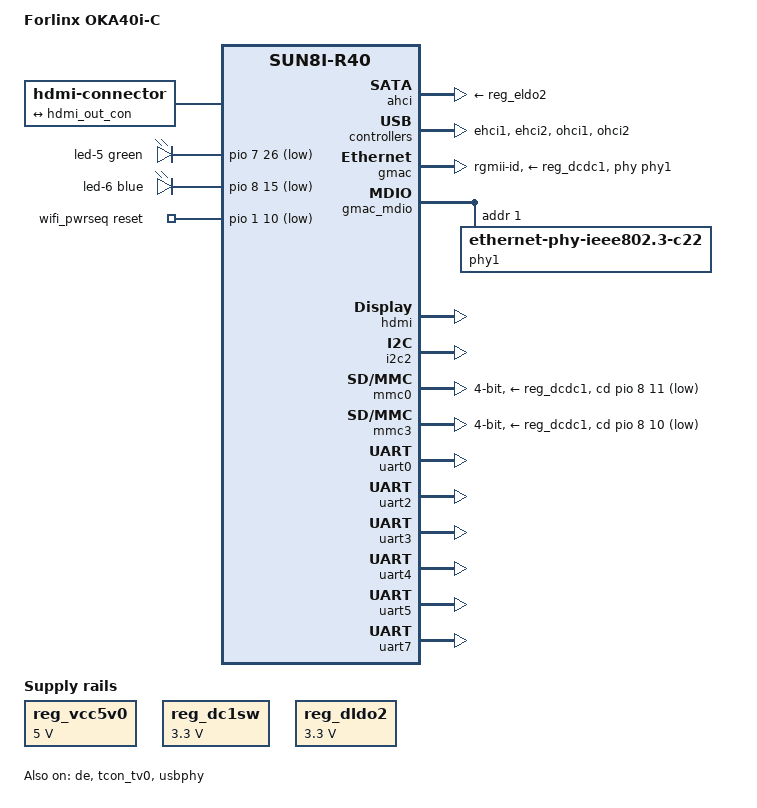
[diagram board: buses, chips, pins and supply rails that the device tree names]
// SPDX-License-Identifier: GPL-2.0+ OR MIT
// Copyright (C) 2021 Ivan Uvarov <i.uvarov@cognitivepilot.com>
// Based on the sun8i-r40-bananapi-m2-ultra.dts, which is:
//	Copyright (C) 2017 Chen-Yu Tsai <wens@csie.org>
//	Copyright (C) 2017 Icenowy Zheng <icenowy@aosc.io>

/dts-v1/;
#include "sun8i-r40-feta40i.dtsi"

#include <dt-bindings/gpio/gpio.h>
#include <dt-bindings/leds/common.h>

/ {
	model = "Forlinx OKA40i-C";
	compatible = "forlinx,oka40i-c", "forlinx,feta40i-c", "allwinner,sun8i-r40";

	aliases {
		ethernet0 = &gmac;
		serial0 = &uart0;
		serial2 = &uart2;
		serial3 = &uart3;
		serial4 = &uart4;
		serial5 = &uart5; /* RS485 */
		serial7 = &uart7;
	};

	chosen {
		stdout-path = "serial0:115200n8";
	};

	connector {
		compatible = "hdmi-connector";
		type = "a";

		port {
			hdmi_con_in: endpoint {
				remote-endpoint = <&hdmi_out_con>;
			};
		};
	};

	leds {
		compatible = "gpio-leds";

		led-5 { /* this is how the leds are labeled on the board */
			gpios = <&pio 7 26 GPIO_ACTIVE_LOW>; /* PH26 */
			color = <LED_COLOR_ID_GREEN>;
			function = LED_FUNCTION_STATUS;
		};

		led-6 {
			gpios = <&pio 8 15 GPIO_ACTIVE_LOW>; /* PI15 */
			color = <LED_COLOR_ID_BLUE>;
			function = LED_FUNCTION_STATUS;
		};
	};

	reg_vcc5v0: vcc5v0 {
		compatible = "regulator-fixed";
		regulator-name = "vcc5v0";
		regulator-min-microvolt = <5000000>;
		regulator-max-microvolt = <5000000>;
	};

	wifi_pwrseq: pwrseq {
		compatible = "mmc-pwrseq-simple";
		reset-gpios = <&pio 1 10 GPIO_ACTIVE_LOW>; // PB10 WIFI_EN
		clocks = <&ccu CLK_OUTA>;
		clock-names = "ext_clock";
	};
};

&ahci {
	ahci-supply = <&reg_dldo4>;
	phy-supply = <&reg_eldo2>;
	status = "okay";
};

&de {
	status = "okay";
};

&ehci1 {
	status = "okay";
};

&ehci2 {
	status = "okay";
};

&gmac {
	pinctrl-names = "default";
	pinctrl-0 = <&gmac_rgmii_pins>;
	phy-handle = <&phy1>;
	phy-mode = "rgmii-id";
	phy-supply = <&reg_dcdc1>;
	status = "okay";
};

&gmac_mdio {
	phy1: ethernet-phy@1 {
		compatible = "ethernet-phy-ieee802.3-c22";
		reg = <1>;
	};
};

&hdmi {
	status = "okay";
};

&hdmi_out {
	hdmi_out_con: endpoint {
		remote-endpoint = <&hdmi_con_in>;
	};
};

&i2c2 {
	status = "okay";
};

&mmc0 {
	vmmc-supply = <&reg_dcdc1>;
	vqmmc-supply = <&reg_dcdc1>;
	bus-width = <4>;
	cd-gpios = <&pio 8 11 GPIO_ACTIVE_LOW>; // PI11
	status = "okay";
};

&mmc3 {
	vmmc-supply = <&reg_dcdc1>;
	vqmmc-supply = <&reg_dcdc1>;
	bus-width = <4>;
	cd-gpios = <&pio 8 10 GPIO_ACTIVE_LOW>; // PI10
	status = "okay";
};

&ohci1 {
	status = "okay";
};

&ohci2 {
	status = "okay";
};

&reg_dc1sw {
	regulator-min-microvolt = <3300000>;
	regulator-max-microvolt = <3300000>;
	regulator-name = "vcc-lcd";
};

&reg_dldo2 {
	regulator-min-microvolt = <3300000>;
	regulator-max-microvolt = <3300000>;
	regulator-name = "vcc-wifi";
};

&tcon_tv0 {
	status = "okay";
};

&uart0 {
	pinctrl-names = "default";
	pinctrl-0 = <&uart0_pb_pins>;
	status = "okay";
};

&uart2 {
	pinctrl-names = "default";
	pinctrl-0 = <&uart2_pi_pins>, <&uart2_rts_cts_pi_pins>;
	uart-has-rtscts;
	status = "okay";
};

&uart3 {
	pinctrl-names = "default";
	pinctrl-0 = <&uart3_pg_pins>, <&uart3_rts_cts_pg_pins>;
	uart-has-rtscts;
	status = "okay";
};

&uart4 {
	pinctrl-names = "default";
	pinctrl-0 = <&uart4_pg_pins>;
	status = "okay";
};

&uart5 { /* RS485 */
	pinctrl-names = "default";
	pinctrl-0 = <&uart5_ph_pins>;
	status = "okay";
};

&uart7 {
	pinctrl-names = "default";
	pinctrl-0 = <&uart7_pi_pins>;
	status = "okay";
};

&usbphy {
	usb1_vbus-supply = <&reg_vcc5v0>;
	usb2_vbus-supply = <&reg_vcc5v0>;
	status = "okay";
};
